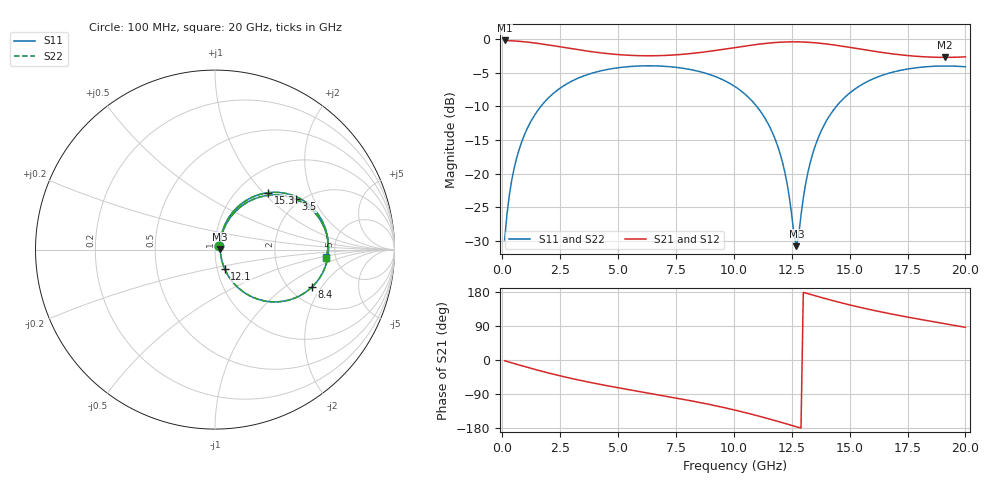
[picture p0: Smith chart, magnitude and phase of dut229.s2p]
! Touchstone file exported from HFSS 2026.1.0
!  File:  C:/ffzhzh/LocalFiles/Ansys_Project_Files/temp_train_TSV_RDL_229_1783064234_46780.aedt
!  Generated:  03:50:04 PM Jul  3, 2026
!  Design:  TSV_RDL
!  Project:  temp_train_TSV_RDL_229_1783064234_46780
! Variables:
!  h_bsmrdl = 4.26um
!  h_ox = 20um
!  h_rdl = 5um
!  h_sub = 77.49um
!  h_tmrdl = 3.64um
!  h_tsv = 77.49um
!  h_via = 3um
!  l_bsmrdl = 118.66um
!  l_sub = 4696.3um
!  l_tmrdl = 962.46um
!  m_sub = 200um
!  pitch = 58.25um
!  r_tsv = 9.47um
!  s_tmrdl = 10um
!  w_bsmrdl = 11.85um
!  w_sub = 500um
!  w_tmrdl = 18.31um
!  x_tsv_center1 = 971.615um
!  x_tsv_center2 = 1102.125um
!  x_tsv_center3 = 2082.895um
!  x_tsv_center4 = 2213.405um
!  x_tsv_center5 = 3194.175um
!  x_tsv_center6 = 3324.685um
# GHz S MA R 50.000000
! Terminal data exported
! Port[1] = TM_RDL1_1_T1
! Port[2] = TM_RDL5_1_T1
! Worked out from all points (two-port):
!   200 points, 100 MHz to 20 GHz, reference 50 ohm
!   highest |S21| = -0.21 dB at 100 MHz (marker M1); lowest = -2.7 dB at 19.1 GHz (marker M2)
!   |S21| within 3 dB of the highest: start of sweep to end of sweep
!   lowest |S11| = -30.8 dB at 12.7 GHz (marker M3), VSWR 1.06, Z = 53 + j0.117 ohm
!   |S11| at or under -10 dB: start of sweep to 1.667 GHz; 10.99 GHz to 14.43 GHz (3.443 GHz wide, 27.1 % of centre)
!   |S22| runs from -30.6 to -4.0 dB; largest |S21 - S12| = 1.6e-14
!   S11 on the Smith chart (normalised r, x): 100 MHz: 1.05, +0.04; 3.5 GHz: 1.89, +1.47; 8.4 GHz: 2.62, -1.64; 12.1 GHz: 1.09, -0.24; 15.3 GHz: 1.36, +1.06; 20 GHz: 4.20, -0.60
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0.1  0.03221 40.4  0.9759 -1.9  0.9759 -1.9  0.03221 40.4
! Gamma 0 0 0 0
! Port Impedance 50 0 50 0
0.3  0.06847 62.9  0.9728 -5.6  0.9728 -5.6  0.06847 62.9
0.5  0.1074 66.7  0.9683 -9.1  0.9683 -9.1  0.1074 66.7
1.1  0.2204 63.2  0.9482 -19.6  0.9482 -19.6  0.2204 63.2
2.1  0.3804 50.0  0.8976 -35.9  0.8976 -35.9  0.3804 50.0
3.5  0.5308 31.9  0.8215 -55.4  0.8215 -55.4  0.5308 31.9
5.1  0.6148 13.8  0.7643 -74.3  0.7643 -74.3  0.6148 13.8
6.8  0.6299 -3.9  0.7528 -92.6  0.7528 -92.6  0.6299 -3.8
8.4  0.5797 -21.0  0.7889 -110.6  0.7889 -110.6  0.5797 -21.0
10.1  0.4375 -41.8  0.867 -133.0  0.867 -133.0  0.4375 -41.7
11.3  0.2655 -57.6  0.9252 -151.7  0.9252 -151.7  0.2656 -57.5
11.7  0.1956 -61.9  0.9394 -158.5  0.9394 -158.5  0.1957 -61.8
12.1  0.1216 -63.5  0.9491 -165.5  0.9491 -165.5  0.1218 -63.3
12.3  0.08434 -60.6  0.9519 -169.0  0.9519 -169.0  0.0845 -60.3
12.7  0.02892 2.2  0.9532 -176.2  0.9532 -176.2  0.0294 2.2
13.1  0.084 65.3  0.9485 176.7  0.9485 176.7  0.08417 65.0
13.4  0.1397 68.4  0.9413 171.5  0.9413 171.5  0.1398 68.2
14.2  0.2801 61.2  0.9096 157.9  0.9096 157.9  0.2802 61.2
15.3  0.4335 47.0  0.8509 141.1  0.8509 141.1  0.4336 46.9
16.7  0.5575 30.1  0.7818 122.6  0.7818 122.6  0.5576 30.1
19.1  0.6304 5.0  0.7306 95.9  0.7306 95.9  0.6304 5.0
20  0.6218 -4.0  0.7372 86.2  0.7372 86.2  0.6219 -4.1
